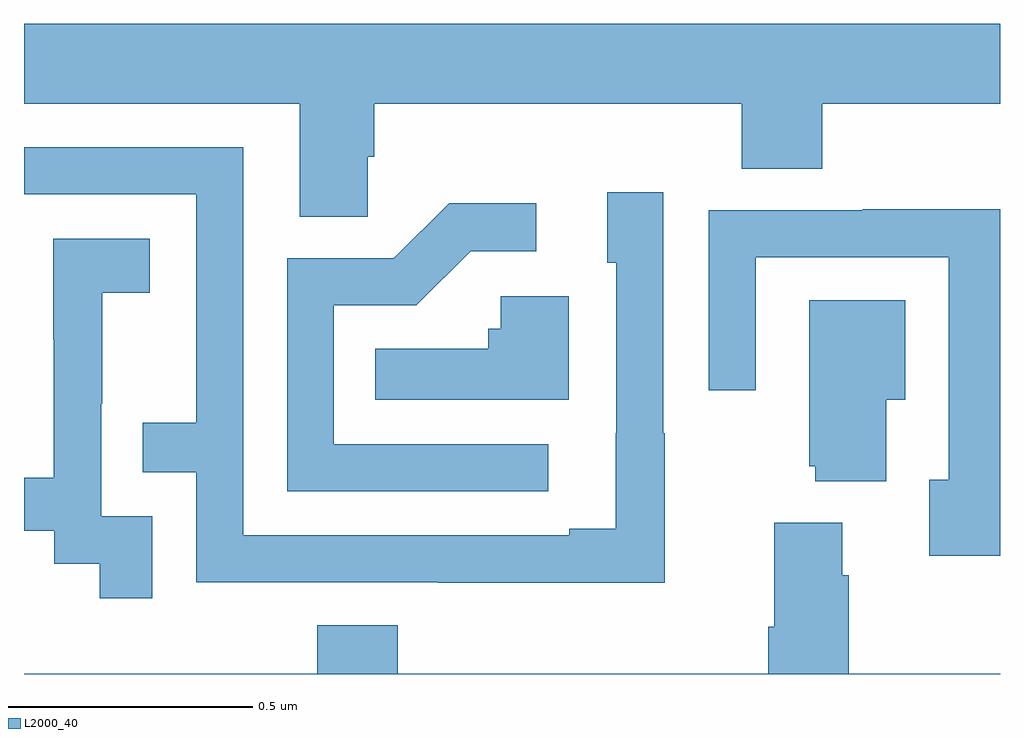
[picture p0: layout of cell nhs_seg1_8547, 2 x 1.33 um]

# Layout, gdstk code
import gdstk
lib = gdstk.Library(unit=1e-6, precision=1e-09)
def P(c, l, *ps):  # polygons
    for p in ps: c.add(gdstk.Polygon(p, *l))
L2000_40 = (2000, 40)

nhs_seg1_8547 = lib.new_cell('nhs_seg1_8547')
P(nhs_seg1_8547, L2000_40, [(217.704,582.259),(217.718,582.259),(217.718,582.368),(218.471,582.368),(218.471,582.235),(218.636,582.235),(218.636,582.368),(219,582.368),(219,582.532),(217,582.532),(217,582.368),(217.565,582.368),(217.565,582.136),(217.704,582.136)],
  [(218.313,581.693),(218.31,581.693),(218.31,582.187),(218.195,582.187),(218.195,582.042),(218.214,582.042),(218.214,581.693),(218.213,581.693),(218.213,581.497),(218.117,581.497),(218.117,581.484),(217.449,581.484),(217.449,582.279),(217,582.279),(217,582.183),(217.353,582.183),(217.353,581.714),(217.243,581.714),(217.243,581.613),(217.353,581.613),(217.353,581.388),(217.849,581.388),(217.849,581.387),(218.313,581.387)],
  [(218.074,581.67),(217.635,581.67),(217.635,581.955),(217.804,581.955),(217.915,582.066),(218.05,582.066),(218.05,582.164),(217.871,582.164),(217.758,582.051),(217.539,582.051),(217.539,581.574),(218.074,581.574)],
  [(219,582.152),(218.719,582.152),(218.719,582.15),(218.403,582.15),(218.403,581.781),(218.499,581.781),(218.499,582.054),(218.895,582.054),(218.895,581.598),(218.855,581.598),(218.855,581.442),(219,581.442)],
  [(217.263,581.523),(217.158,581.523),(217.158,581.753),(217.16,581.753),(217.16,581.981),(217.258,581.981),(217.258,582.091),(217.06,582.091),(217.06,581.885),(217.061,581.885),(217.061,581.602),(217,581.602),(217,581.493),(217.062,581.493),(217.062,581.425),(217.155,581.425),(217.155,581.355),(217.263,581.355)],
  [(218.116,581.974),(217.977,581.974),(217.977,581.907),(217.951,581.907),(217.951,581.866),(217.72,581.866),(217.72,581.762),(218.116,581.762)],
  [(218.767,581.762),(218.806,581.762),(218.806,581.965),(218.609,581.965),(218.609,581.625),(218.621,581.625),(218.621,581.594),(218.767,581.594)],
  [(219,581.2),(218.69,581.2),(218.69,581.402),(218.677,581.402),(218.677,581.509),(218.537,581.509),(218.537,581.296),(218.525,581.296),(218.525,581.2),(217.766,581.2),(217.766,581.299),(217.601,581.299),(217.601,581.2),(217,581.2),(217,581.199),(219,581.199)])

lib.write_gds('nhs_seg1_8547.gds')
